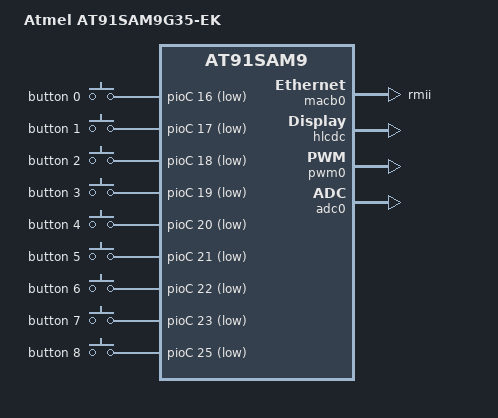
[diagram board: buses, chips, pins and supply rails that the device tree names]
/*
 * at91sam9g35ek.dts - Device Tree file for AT91SAM9G35-EK board
 *
 *  Copyright (C) 2012 Atmel,
 *                2012 Nicolas Ferre <nicolas.ferre@atmel.com>
 *
 * Licensed under GPLv2 or later.
 */
/dts-v1/;
#include "at91sam9g35.dtsi"
#include "at91sam9x5dm.dtsi"
#include "at91sam9x5ek.dtsi"

/ {
	model = "Atmel AT91SAM9G35-EK";
	compatible = "atmel,at91sam9g35ek", "atmel,at91sam9x5ek", "atmel,at91sam9x5", "atmel,at91sam9";

	ahb {
		apb {
			macb0: ethernet@f802c000 {
				phy-mode = "rmii";
				status = "okay";
			};

			hlcdc: hlcdc@f8038000 {
				status = "okay";
			};
     pwm0: pwm@f8034000 {
        status = "okay";
      };
adc0: adc@f804c000 {
        status = "okay";
      };
		};
	};

	backlight: backlight {
		status = "okay";
	};

	bl_reg: backlight_regulator {
		status = "okay";
	};

	panel: panel {
		status = "okay";
	};

	panel_reg: panel_regulator {
		status = "okay";
	};
 
  gpio_keys {
    compatible = "gpio-keys";

    /* Keypad button is HOME */
    button_0 {
      debounce_interval = <50>;
      label = "button 0";
      gpios = <&pioC 16 GPIO_ACTIVE_LOW>;
      linux,code = <102>;
      gpio-key,wakeup;
    };

    /* Keypad button is ENTER */
  button_1 {
      debounce_interval = <50>;
      label = "button 1";
      gpios = <&pioC 17 GPIO_ACTIVE_LOW>;
      linux,code = <28>;
      gpio-key,wakeup;
    };

   /* Currently KEY_Q */
   /* Keypad button is DIAG */
  button_2 {
      debounce_interval = <50>;
      label = "button 2";
      gpios = <&pioC 18 GPIO_ACTIVE_LOW>;
      linux,code = <16>;
      gpio-key,wakeup;
    };


    /* Currently KEY_RIGHT */
   /* Keypad button is RIGHT ARROW */
   button_3 {
      debounce_interval = <50>;
      label = "button 3";
      gpios = <&pioC 19 GPIO_ACTIVE_LOW>;
      linux,code = <106>;
      gpio-key,wakeup;
    };



    /* Currently KEY_UP */
    /* Keypad button is UP ARROW */
    button_4 {
      debounce_interval = <50>;
      label = "button 4";
      gpios = <&pioC 20 GPIO_ACTIVE_LOW>;
      linux,code = <103>;
      gpio-key,wakeup;
    };

    /* Currently KEY_DOWN */
    /* Keypad button is DOWN ARROW */
    button_5 {
      debounce_interval = <50>;
      label = "button 5";
      gpios = <&pioC 21 GPIO_ACTIVE_LOW>;
      linux,code = <108>;
      gpio-key,wakeup;
    };

    /* Currently KEY_LEFT */
    /* Keypad button is LEFT ARROW */
    button_6 {
      debounce_interval = <50>;
      label = "button 6";
      gpios = <&pioC 22 GPIO_ACTIVE_LOW>;
      linux,code = <105>;
      gpio-key,wakeup;
    };

    /* Currently KEY_O */
    /* Keypad button MENU */

    button_7 {
      debounce_interval = <50>;
      label = "button 7";
      gpios = <&pioC 23 GPIO_ACTIVE_LOW>;
      linux,code = <24>;
      gpio-key,wakeup;
    };

  /* Keypad button Back */
    button_8 {
      debounce_interval = <50>;
      label = "button 8";
 
      gpios = <&pioC 25 GPIO_ACTIVE_LOW>;
      linux,code = <1>;
      gpio-key,wakeup;
    };
  };
};
